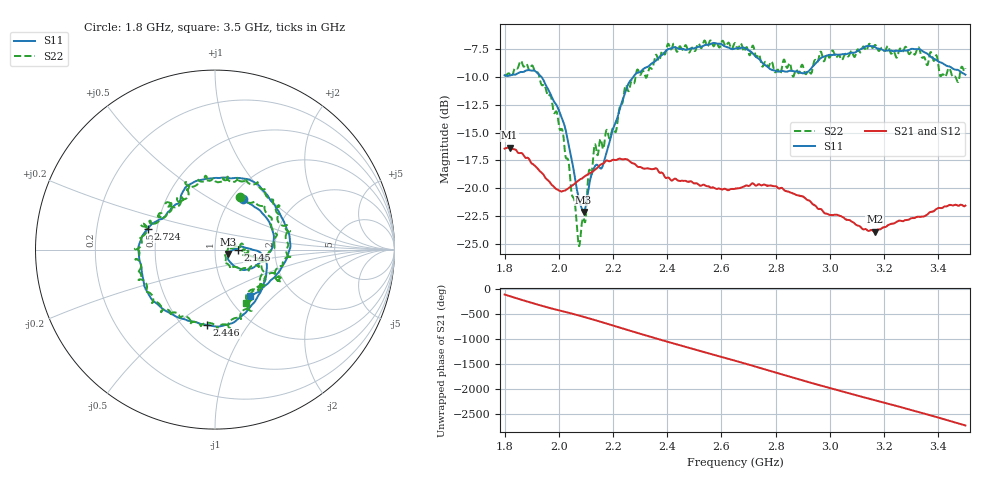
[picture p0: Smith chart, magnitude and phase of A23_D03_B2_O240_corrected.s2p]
! Created with skrf 1.9.0 (http://scikit-rf.org).
# Hz S RI R 50.0
!freq ReS11 ImS11 ReS21 ImS21 ReS12 ImS12 ReS22 ImS22
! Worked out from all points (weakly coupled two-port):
!   1601 points, 1.8 GHz to 3.5 GHz, reference 50 ohm
!   highest |S21| = -16.35 dB at 1.818 GHz (marker M1); lowest = -23.9 dB at 3.165 GHz (marker M2)
!   lowest |S11| = -22.1 dB at 2.091 GHz (marker M3), VSWR 1.17, Z = 57.9 - j2.89 ohm
!   |S11| at or under -10 dB: 1.935 GHz to 2.275 GHz (339.8 MHz wide, 16.1 % of centre)
!   |S22| runs from -25.2 to -6.7 dB; largest |S21 - S12| = 0.0025
!   S11 on the Smith chart (normalised r, x): 1.8 GHz: 1.13, +0.71; 2.145 GHz: 1.29, +0.00; 2.446 GHz: 0.65, -0.66; 2.724 GHz: 0.45, +0.12; 3.5 GHz: 1.26, -0.72
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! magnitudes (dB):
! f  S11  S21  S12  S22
! 1.8 GHz  -9.9  -16.4  -16.4  -9.9
! 1.818 GHz  -9.9  -16.3  -16.4  -9.7
! 1.903 GHz  -9.4  -17.8  -17.8  -9.0
! 1.968 GHz  -11.5  -19.5  -19.5  -11.6
! 2.015 GHz  -13.9  -20.3  -20.3  -14.9
! 2.072 GHz  -20.7  -19.3  -19.3  -24.9
! 2.084 GHz  -21.8  -19.2  -19.1  -23.4
! 2.091 GHz  -22.1  -19.0  -19.1  -22.7
! 2.112 GHz  -19.6  -18.7  -18.7  -18.4
! 2.145 GHz  -18.0  -18.1  -18.1  -16.9
! 2.209 GHz  -14.1  -17.5  -17.4  -15.0
! 2.259 GHz  -10.5  -17.5  -17.5  -11.2
! 2.367 GHz  -8.3  -18.5  -18.4  -8.5
! 2.446 GHz  -7.5  -19.3  -19.3  -7.3
! 2.65 GHz  -7.5  -20.0  -20.0  -7.0
! 2.724 GHz  -8.1  -19.7  -19.7  -8.0
! 2.934 GHz  -9.2  -21.4  -21.3  -9.6
! 3.165 GHz  -7.3  -23.9  -23.9  -7.2
! 3.217 GHz  -7.6  -23.3  -23.2  -7.4
! 3.327 GHz  -7.5  -22.6  -22.5  -7.3
! 3.468 GHz  -9.4  -21.5  -21.5  -10.3
! 3.5 GHz  -9.8  -21.6  -21.6  -9.2
